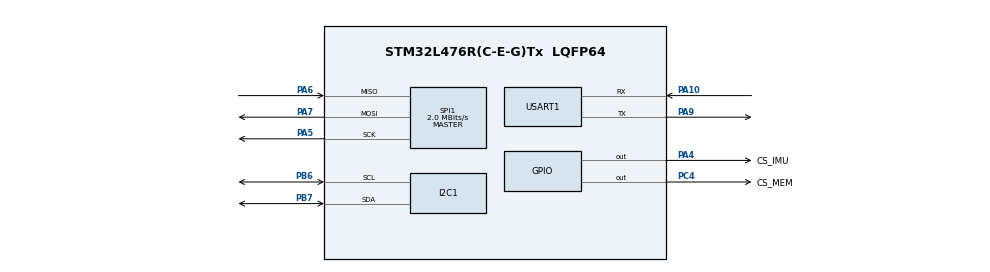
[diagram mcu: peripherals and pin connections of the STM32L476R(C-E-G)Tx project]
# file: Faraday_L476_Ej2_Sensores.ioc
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I2C1.Timing=0x00100D14
Mcu.Family=STM32L4
Mcu.Name=STM32L476R(C-E-G)Tx
Mcu.Package=LQFP64
NVIC.PriorityGroup=NVIC_PRIORITYGROUP_4
NVIC.USART1_IRQn=true\:0\:0\:false\:false\:true\:true\:true\:true
PA10.Mode=Asynchronous
PA10.Signal=USART1_RX
PA13\ (JTMS-SWDIO).Mode=Serial_Wire
PA13\ (JTMS-SWDIO).Signal=SYS_JTMS-SWDIO
PA14\ (JTCK-SWCLK).Mode=Serial_Wire
PA14\ (JTCK-SWCLK).Signal=SYS_JTCK-SWCLK
PA4.GPIO_Label=CS_IMU
PA4.PinState=GPIO_PIN_SET
PA4.Signal=GPIO_Output
PA5.Mode=Full_Duplex_Master
PA5.Signal=SPI1_SCK
PA6.Mode=Full_Duplex_Master
PA6.Signal=SPI1_MISO
PA7.Mode=Full_Duplex_Master
PA7.Signal=SPI1_MOSI
PA9.Mode=Asynchronous
PA9.Signal=USART1_TX
PB6.Mode=I2C
PB6.Signal=I2C1_SCL
PB7.Mode=I2C
PB7.Signal=I2C1_SDA
PC4.GPIO_Label=CS_MEM
PC4.PinState=GPIO_PIN_SET
PC4.Signal=GPIO_Output
ProjectManager.HeapSize=0x200
ProjectManager.StackSize=0x400
ProjectManager.TargetToolchain=CMake
RCC.HSE_VALUE=8000000
RCC.HSI_VALUE=16000000
RCC.LSE_VALUE=32768
RCC.MSI_VALUE=4000000
RCC.VCOOutputFreq_Value=32000000
SPI1.CalculateBaudRate=2.0 MBits/s
SPI1.DataSize=SPI_DATASIZE_8BIT
SPI1.Direction=SPI_DIRECTION_2LINES
SPI1.Mode=SPI_MODE_MASTER
SPI1.VirtualType=VM_MASTER
USART1.VirtualMode-Asynchronous=VM_ASYNC
board=custom

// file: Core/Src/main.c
/* USER CODE BEGIN Header */
/**
  ******************************************************************************
  * @file           : main.c
  * @brief          : Main program body
  ******************************************************************************
  * @attention
  *
  * Copyright (c) 2026 STMicroelectronics.
  * All rights reserved.
  *
  * This software is licensed under terms that can be found in the LICENSE file
  * in the root directory of this software component.
  * If no LICENSE file comes with this software, it is provided AS-IS.
  *
  ******************************************************************************
  */
/* USER CODE END Header */
#include "main.h"

/* USER CODE BEGIN Includes */
#include <math.h>
/* USER CODE END Includes */

I2C_HandleTypeDef hi2c1;

SPI_HandleTypeDef hspi1;

UART_HandleTypeDef huart1;

/* USER CODE BEGIN PV */
static volatile uint8_t baro_5c_detectado = 0U;
static volatile uint8_t baro_5d_detectado = 0U;
// Indican si hemos podido escribir la configuración de cada barómetro.
static volatile uint8_t baro_5c_configurado = 0U;
static volatile uint8_t baro_5d_configurado = 0U;
// Última presión leída del sensor 0x5C, en hPa.
static volatile float baro_5c_presion_hpa = 0.0f;
// Última presión leída del segundo sensor, en hPa.
static volatile float baro_5d_presion_hpa = 0.0f;
// Vale 1 solo cuando este ciclo ha producido una lectura nueva y correcta.
static volatile uint8_t baro_5d_presion_valida = 0U;
// Vale 1 solo en el ciclo en que obtenemos una lectura nueva y correcta.
static volatile uint8_t baro_5c_presion_valida = 0U;
// Última presión obtenida con las muestras nuevas disponibles, en hPa.
static volatile float presion_combinada_hpa = 0.0f;
// 0: sin muestra nueva; 1: solo 0x5C; 2: solo 0x5D; 3: ambos.
static volatile uint8_t barometros_usados = 0U;
static volatile uint8_t imu_detectada = 0U;
static volatile uint8_t imu_id_leido = 0U;
static volatile uint8_t imu_interfaz_configurada = 0U;
static volatile uint8_t imu_lowg_configurado = 0U;
static volatile float imu_ax_g = 0.0f;
static volatile float imu_ay_g = 0.0f;
static volatile float imu_az_g = 0.0f;
static volatile uint8_t imu_lowg_muestra_valida = 0U;
static volatile uint8_t imu_highg_configurado = 0U;
static volatile uint8_t imu_giro_configurado = 0U;
static volatile float imu_gx_dps = 0.0f;
static volatile float imu_gy_dps = 0.0f;
static volatile float imu_gz_dps = 0.0f;
static volatile uint8_t imu_giro_muestra_valida = 0U;
static uint8_t gnss_byte_rx = 0U;
static volatile uint8_t gnss_buffer[256] = {0U};
static volatile uint16_t gnss_indice = 0U;
static volatile uint32_t gnss_bytes_recibidos = 0U;
static volatile uint8_t gnss_rx_activa = 0U;
/* USER CODE END PV */

void SystemClock_Config(void);
static void MX_GPIO_Init(void);
static void MX_I2C1_Init(void);
static void MX_SPI1_Init(void);
static void MX_USART1_UART_Init(void);
/* USER CODE BEGIN PFP */
static float FiltrarAltura(float altura_nueva, float altura_anterior);
static float AlturaDesdePresion(float presion_pa, float presion_inicial_pa);
/* USER CODE END PFP */

int main(void)
{

  /* MCU Configuration--------------------------------------------------------*/

  /* Reset of all peripherals, Initializes the Flash interface and the Systick. */
  HAL_Init();

  /* Configure the system clock */
  SystemClock_Config();

  /* Initialize all configured peripherals */
  MX_GPIO_Init();
  MX_I2C1_Init();
  MX_SPI1_Init();
  MX_USART1_UART_Init();
  /* USER CODE BEGIN 2 */
  // Aquí se guardará el identificador leído de cada sensor.
  // WHO_AM_I: 0x0F. El bit 7 indica lectura SPI.
  gnss_rx_activa =
    (HAL_UART_Receive_IT(&huart1, &gnss_byte_rx, 1U) == HAL_OK);
  uint8_t imu_tx[2] = {0x8FU, 0x00U};
  uint8_t imu_rx[2] = {0U, 0U};

  HAL_GPIO_WritePin(CS_IMU_GPIO_Port, CS_IMU_Pin, GPIO_PIN_RESET);

  HAL_StatusTypeDef resultado_imu = HAL_SPI_TransmitReceive(
    &hspi1, imu_tx, imu_rx, 2U, 100U
  );

  HAL_GPIO_WritePin(CS_IMU_GPIO_Port, CS_IMU_Pin, GPIO_PIN_SET);
  // El segundo contiene el valor del registro.
  if (resultado_imu == HAL_OK)
  {
    imu_id_leido = imu_rx[1];
    imu_detectada = (imu_id_leido == 0x73U);
  }
  if (imu_detectada)
{
    // CTRL3 (0x12): BDU = 1 e IF_INC = 1.
    uint8_t imu_config_tx[2] = {0x12U, 0x44U};

    HAL_GPIO_WritePin(CS_IMU_GPIO_Port, CS_IMU_Pin, GPIO_PIN_RESET);
    HAL_StatusTypeDef escritura_imu = HAL_SPI_Transmit(
        &hspi1, imu_config_tx, 2U, 100U
    );
    HAL_GPIO_WritePin(CS_IMU_GPIO_Port, CS_IMU_Pin, GPIO_PIN_SET);

    if (escritura_imu == HAL_OK)
    {
        // Leemos CTRL3 de vuelta: 0x12 | 0x80 = 0x92.
        uint8_t imu_verif_tx[2] = {0x92U, 0x00U};
        uint8_t imu_verif_rx[2] = {0U, 0U};

        HAL_GPIO_WritePin(CS_IMU_GPIO_Port, CS_IMU_Pin, GPIO_PIN_RESET);
        HAL_StatusTypeDef lectura_imu = HAL_SPI_TransmitReceive(
            &hspi1, imu_verif_tx, imu_verif_rx, 2U, 100U
        );
        HAL_GPIO_WritePin(CS_IMU_GPIO_Port, CS_IMU_Pin, GPIO_PIN_SET);

        imu_interfaz_configurada =
            (lectura_imu == HAL_OK &&
             (imu_verif_rx[1] & 0x44U) == 0x44U);
    }
}
if (imu_interfaz_configurada)
{
    // CTRL8: rango del acelerómetro low-g de +/-16 g.
    uint8_t config_rango[2] = {0x17U, 0x03U};

    HAL_GPIO_WritePin(CS_IMU_GPIO_Port, CS_IMU_Pin, GPIO_PIN_RESET);
    HAL_StatusTypeDef escritura_rango = HAL_SPI_Transmit(
        &hspi1, config_rango, 2U, 100U
    );
    HAL_GPIO_WritePin(CS_IMU_GPIO_Port, CS_IMU_Pin, GPIO_PIN_SET);

    if (escritura_rango == HAL_OK)
    {
        // CTRL1: modo de alto rendimiento y ODR de 60 Hz.
        uint8_t config_odr[2] = {0x10U, 0x05U};

        HAL_GPIO_WritePin(CS_IMU_GPIO_Port, CS_IMU_Pin, GPIO_PIN_RESET);
        HAL_StatusTypeDef escritura_odr = HAL_SPI_Transmit(
            &hspi1, config_odr, 2U, 100U
        );
        HAL_GPIO_WritePin(CS_IMU_GPIO_Port, CS_IMU_Pin, GPIO_PIN_SET);

        imu_lowg_configurado = (escritura_odr == HAL_OK);
    }
}
if (imu_lowg_configurado)
{
    // Lectura de CTRL8 (0x17): 0x17 | 0x80 = 0x97.
    uint8_t tx_rango[2] = {0x97U, 0x00U};
    uint8_t rx_rango[2] = {0U, 0U};

    HAL_GPIO_WritePin(CS_IMU_GPIO_Port, CS_IMU_Pin, GPIO_PIN_RESET);
    HAL_StatusTypeDef lectura_rango = HAL_SPI_TransmitReceive(
        &hspi1, tx_rango, rx_rango, 2U, 100U
    );
    HAL_GPIO_WritePin(CS_IMU_GPIO_Port, CS_IMU_Pin, GPIO_PIN_SET);

    // Lectura de CTRL1 (0x10): 0x10 | 0x80 = 0x90.
    uint8_t tx_odr[2] = {0x90U, 0x00U};
    uint8_t rx_odr[2] = {0U, 0U};

    HAL_GPIO_WritePin(CS_IMU_GPIO_Port, CS_IMU_Pin, GPIO_PIN_RESET);
    HAL_StatusTypeDef lectura_odr = HAL_SPI_TransmitReceive(
        &hspi1, tx_odr, rx_odr, 2U, 100U
    );
    HAL_GPIO_WritePin(CS_IMU_GPIO_Port, CS_IMU_Pin, GPIO_PIN_SET);

    imu_lowg_configurado =
        (lectura_rango == HAL_OK && rx_rango[1] == 0x03U &&
         lectura_odr == HAL_OK && rx_odr[1] == 0x05U);
}
if (imu_lowg_configurado)
{
    /* CTRL1_XL_HG (0x4E):
       bit 7 = 1: habilita los registros de salida high-g
       bits 5:3 = 011: 480 Hz
       bits 2:0 = 100: rango ±320 g
       Resultado: 0x9C. */
    uint8_t highg_config_tx[2] = {0x4EU, 0x9CU};

    HAL_GPIO_WritePin(CS_IMU_GPIO_Port, CS_IMU_Pin, GPIO_PIN_RESET);
    HAL_StatusTypeDef escritura_highg = HAL_SPI_Transmit(
        &hspi1, highg_config_tx, 2U, 100U
    );
    HAL_GPIO_WritePin(CS_IMU_GPIO_Port, CS_IMU_Pin, GPIO_PIN_SET);

    if (escritura_highg == HAL_OK)
    {
        /* Lectura de comprobación: 0x4E | 0x80 = 0xCE. */
        uint8_t highg_verif_tx[2] = {0xCEU, 0x00U};
        uint8_t highg_verif_rx[2] = {0U, 0U};

        HAL_GPIO_WritePin(CS_IMU_GPIO_Port, CS_IMU_Pin, GPIO_PIN_RESET);
        HAL_StatusTypeDef lectura_highg = HAL_SPI_TransmitReceive(
            &hspi1, highg_verif_tx, highg_verif_rx, 2U, 100U
        );
        HAL_GPIO_WritePin(CS_IMU_GPIO_Port, CS_IMU_Pin, GPIO_PIN_SET);

        imu_highg_configurado =
            (lectura_highg == HAL_OK &&
             highg_verif_rx[1] == 0x9CU);
    }
}
if (imu_lowg_configurado)
{
    /* CTRL6 (0x15): rango del giróscopo ±2000 °/s. */
    uint8_t giro_rango_tx[2] = {0x15U, 0x04U};

    HAL_GPIO_WritePin(CS_IMU_GPIO_Port, CS_IMU_Pin, GPIO_PIN_RESET);
    HAL_StatusTypeDef escritura_rango_giro = HAL_SPI_Transmit(
        &hspi1, giro_rango_tx, 2U, 100U
    );
    HAL_GPIO_WritePin(CS_IMU_GPIO_Port, CS_IMU_Pin, GPIO_PIN_SET);

    if (escritura_rango_giro == HAL_OK)
    {
        /* CTRL2 (0x11): alto rendimiento y 60 Hz. */
        uint8_t giro_odr_tx[2] = {0x11U, 0x05U};

        HAL_GPIO_WritePin(CS_IMU_GPIO_Port, CS_IMU_Pin, GPIO_PIN_RESET);
        HAL_StatusTypeDef escritura_odr_giro = HAL_SPI_Transmit(
            &hspi1, giro_odr_tx, 2U, 100U
        );
        HAL_GPIO_WritePin(CS_IMU_GPIO_Port, CS_IMU_Pin, GPIO_PIN_SET);

        if (escritura_odr_giro == HAL_OK)
{
    /* CTRL6: comprobamos el rango ±2000 °/s. */
    uint8_t rango_verif_tx[2] = {0x95U, 0x00U};
    uint8_t rango_verif_rx[2] = {0U, 0U};

    HAL_GPIO_WritePin(CS_IMU_GPIO_Port, CS_IMU_Pin, GPIO_PIN_RESET);
    HAL_StatusTypeDef lectura_rango_giro = HAL_SPI_TransmitReceive(
        &hspi1, rango_verif_tx, rango_verif_rx, 2U, 100U
    );
    HAL_GPIO_WritePin(CS_IMU_GPIO_Port, CS_IMU_Pin, GPIO_PIN_SET);

    /* CTRL2: comprobamos la frecuencia de 60 Hz. */
    uint8_t odr_verif_tx[2] = {0x91U, 0x00U};
    uint8_t odr_verif_rx[2] = {0U, 0U};

    HAL_GPIO_WritePin(CS_IMU_GPIO_Port, CS_IMU_Pin, GPIO_PIN_RESET);
    HAL_StatusTypeDef lectura_odr_giro = HAL_SPI_TransmitReceive(
        &hspi1, odr_verif_tx, odr_verif_rx, 2U, 100U
    );
    HAL_GPIO_WritePin(CS_IMU_GPIO_Port, CS_IMU_Pin, GPIO_PIN_SET);

    imu_giro_configurado =
        (lectura_rango_giro == HAL_OK &&
         rango_verif_rx[1] == 0x04U &&
         lectura_odr_giro == HAL_OK &&
         odr_verif_rx[1] == 0x05U);
}
    }
}

  uint8_t id_5c = 0U;
  uint8_t id_5d = 0U;
// Leemos el registro WHO_AM_I (0x0F) del barómetro con dirección 0x5C.
// HAL espera la dirección de 7 bits desplazada una posición a la izquierda.
HAL_StatusTypeDef lectura_5c = HAL_I2C_Mem_Read(
    &hi2c1,                 // Bus I²C configurado en CubeMX.
    0x5CU << 1,             // Dirección del primer barómetro.
    0x0FU,                  // Registro WHO_AM_I.
    I2C_MEMADD_SIZE_8BIT,   // La dirección del registro ocupa 8 bits.
    &id_5c,                // Variable donde se guardará el dato recibido.
    1U,                    // Leemos un byte.
    100U                   // Tiempo máximo de espera, en milisegundos.
);
// Repetimos la lectura para el barómetro con dirección 0x5D.
HAL_StatusTypeDef lectura_5d = HAL_I2C_Mem_Read(
    &hi2c1,
    0x5DU << 1,
    0x0FU,
    I2C_MEMADD_SIZE_8BIT,
    &id_5d,
    1U,
    100U
);
// 0xB4 es el valor esperado de WHO_AM_I para el LPS22DF.
// Exigimos tanto una comunicación correcta como el identificador esperado.
baro_5c_detectado = (lectura_5c == HAL_OK && id_5c == 0xB4U);
baro_5d_detectado = (lectura_5d == HAL_OK && id_5d == 0xB4U);
// CTRL_REG1: ODR = 100 Hz (0111) y AVG = 32 (011).
uint8_t configuracion = 0x3BU;
// Solo intentamos configurar el sensor que se haya identificado.
if (baro_5c_detectado)
{
    baro_5c_configurado = (HAL_I2C_Mem_Write(
        &hi2c1,                 // Bus I²C.
        0x5CU << 1,             // Dirección del primer barómetro.
        0x10U,                  // Registro CTRL_REG1.
        I2C_MEMADD_SIZE_8BIT,   // Dirección de registro de 8 bits.
        &configuracion,         // Valor que queremos escribir.
        1U,                    // Escribimos un byte.
        100U                   // Tiempo máximo de espera, en ms.
    ) == HAL_OK);
}
if (baro_5d_detectado)
{
    baro_5d_configurado = (HAL_I2C_Mem_Write(
        &hi2c1,
        0x5DU << 1,             // Dirección del segundo barómetro.
        0x10U,
        I2C_MEMADD_SIZE_8BIT,
        &configuracion,         // Ambos reciben la misma configuración.
        1U,
        100U
    ) == HAL_OK);
}// Variables donde guardaremos el contenido leído de CTRL_REG1.
uint8_t ctrl_5c = 0U;
uint8_t ctrl_5d = 0U;
if (baro_5c_configurado)
{
    // Leemos de nuevo CTRL_REG1 en el primer barómetro.
    HAL_StatusTypeDef resultado_5c = HAL_I2C_Mem_Read(
        &hi2c1,
        0x5CU << 1,
        0x10U,                  // Registro que acabamos de escribir.
        I2C_MEMADD_SIZE_8BIT,
        &ctrl_5c,               // Aquí quedará el valor leído.
        1U,
        100U
    );
    // Solo lo damos por configurado si la lectura funciona
    // y el registro contiene el valor previsto.
    baro_5c_configurado =
        (resultado_5c == HAL_OK && ctrl_5c == configuracion);
}
if (baro_5d_configurado)
{
    // Hacemos la misma comprobación en el segundo barómetro.
    HAL_StatusTypeDef resultado_5d = HAL_I2C_Mem_Read(
        &hi2c1,
        0x5DU << 1,
        0x10U,
        I2C_MEMADD_SIZE_8BIT,
        &ctrl_5d,
        1U,
        100U
    );
    baro_5d_configurado =
        (resultado_5d == HAL_OK && ctrl_5d == configuracion);
}
// En CTRL_REG2, el bit 3 activa BDU: 0000 1000 = 0x08.
uint8_t configuracion_bdu = 0x08U;
if (baro_5c_configurado)
{
    // Activamos BDU en el primer barómetro.
    HAL_StatusTypeDef escritura = HAL_I2C_Mem_Write(
        &hi2c1, 0x5CU << 1, 0x11U, I2C_MEMADD_SIZE_8BIT,
        &configuracion_bdu, 1U, 100U
    );
    // Si falla esta escritura, el sensor ya no se considera
    // completamente configurado.
    baro_5c_configurado = (escritura == HAL_OK);
}
if (baro_5d_configurado)
{
    // Aplicamos la misma configuración al segundo barómetro.
    HAL_StatusTypeDef escritura = HAL_I2C_Mem_Write(
        &hi2c1, 0x5DU << 1, 0x11U, I2C_MEMADD_SIZE_8BIT,
        &configuracion_bdu, 1U, 100U
    );
    baro_5d_configurado = (escritura == HAL_OK);
}
  /* USER CODE END 2 */

  /* Infinite loop */
  while (1)
  {

    /* USER CODE BEGIN 3 */
    static uint32_t instante_anterior = 0U;
    static uint8_t primera_medida = 1U;
    static uint8_t referencia_pendiente = 1U;
    static float presion_inicio_pa = 0.0f;
    static float altura_filtrada = 0.0f;
    static volatile float resultado_prueba = 0.0f;
    static float historial_alturas[20] = {0};
    static uint8_t indice_historial = 0U;
    static uint8_t muestras_guardadas = 0U;
    static volatile float cambio_altura_02s = 0.0f;
    static float altura_maxima = 0.0f;
    static uint8_t confirmaciones_descenso = 0U;
    static uint8_t fallos_consecutivos = 0U;
    static volatile uint8_t descenso_detectado = 0U;
    uint32_t instante_actual = HAL_GetTick();
    if ((uint32_t)(instante_actual - instante_anterior) >= 10U)
    {
      instante_anterior = instante_actual;
      /* Se reinicia en cada ciclo: los valores numéricos conservan
   la última lectura, aunque no haya una muestra nueva. */
imu_lowg_muestra_valida = 0U;

if (imu_lowg_configurado)
{
    /* STATUS_REG (0x1E), bit 0: XLDA indica datos nuevos
       del acelerómetro low-g. */
    uint8_t estado_tx[2] = {0x9EU, 0x00U};
    uint8_t estado_rx[2] = {0U, 0U};

    HAL_GPIO_WritePin(CS_IMU_GPIO_Port, CS_IMU_Pin, GPIO_PIN_RESET);
    HAL_StatusTypeDef lectura_estado = HAL_SPI_TransmitReceive(
        &hspi1, estado_tx, estado_rx, 2U, 100U
    );
    HAL_GPIO_WritePin(CS_IMU_GPIO_Port, CS_IMU_Pin, GPIO_PIN_SET);

    if (lectura_estado == HAL_OK && (estado_rx[1] & 0x01U) != 0U)
    {
        /* Lectura continua de 0x28 a 0x2D:
           X bajo/alto, Y bajo/alto, Z bajo/alto. */
        uint8_t datos_tx[7] = {0xA8U, 0U, 0U, 0U, 0U, 0U, 0U};
        uint8_t datos_rx[7] = {0U, 0U, 0U, 0U, 0U, 0U, 0U};

        HAL_GPIO_WritePin(CS_IMU_GPIO_Port, CS_IMU_Pin, GPIO_PIN_RESET);
        HAL_StatusTypeDef lectura_datos = HAL_SPI_TransmitReceive(
            &hspi1, datos_tx, datos_rx, 7U, 100U
        );
        HAL_GPIO_WritePin(CS_IMU_GPIO_Port, CS_IMU_Pin, GPIO_PIN_SET);

        if (lectura_datos == HAL_OK)
        {
            int16_t ax_bruta = (int16_t)(
                (uint16_t)datos_rx[1] |
                ((uint16_t)datos_rx[2] << 8)
            );
            int16_t ay_bruta = (int16_t)(
                (uint16_t)datos_rx[3] |
                ((uint16_t)datos_rx[4] << 8)
            );
            int16_t az_bruta = (int16_t)(
                (uint16_t)datos_rx[5] |
                ((uint16_t)datos_rx[6] << 8)
            );

            /* Para el rango configurado de ±16 g:
               0,488 mg por unidad = 0,000488 g por unidad. */
            imu_ax_g = (float)ax_bruta * 0.000488f;
            imu_ay_g = (float)ay_bruta * 0.000488f;
            imu_az_g = (float)az_bruta * 0.000488f;
            imu_lowg_muestra_valida = 1U;
        }
    }
}
imu_giro_muestra_valida = 0U;

if (imu_giro_configurado)
{
    /* STATUS_REG (0x1E), bit 1: datos nuevos del giróscopo. */
    uint8_t giro_estado_tx[2] = {0x9EU, 0x00U};
    uint8_t giro_estado_rx[2] = {0U, 0U};

    HAL_GPIO_WritePin(CS_IMU_GPIO_Port, CS_IMU_Pin, GPIO_PIN_RESET);
    HAL_StatusTypeDef lectura_estado_giro = HAL_SPI_TransmitReceive(
        &hspi1, giro_estado_tx, giro_estado_rx, 2U, 100U
    );
    HAL_GPIO_WritePin(CS_IMU_GPIO_Port, CS_IMU_Pin, GPIO_PIN_SET);

    if (lectura_estado_giro == HAL_OK &&
        (giro_estado_rx[1] & 0x02U) != 0U)
    {
        /* Registros 0x22 a 0x27: X, Y y Z, byte bajo y alto. */
        uint8_t giro_datos_tx[7] = {0xA2U, 0U, 0U, 0U, 0U, 0U, 0U};
        uint8_t giro_datos_rx[7] = {0U, 0U, 0U, 0U, 0U, 0U, 0U};

        HAL_GPIO_WritePin(CS_IMU_GPIO_Port, CS_IMU_Pin, GPIO_PIN_RESET);
        HAL_StatusTypeDef lectura_datos_giro = HAL_SPI_TransmitReceive(
            &hspi1, giro_datos_tx, giro_datos_rx, 7U, 100U
        );
        HAL_GPIO_WritePin(CS_IMU_GPIO_Port, CS_IMU_Pin, GPIO_PIN_SET);

        if (lectura_datos_giro == HAL_OK)
        {
            int16_t gx_bruta = (int16_t)(
                (uint16_t)giro_datos_rx[1] |
                ((uint16_t)giro_datos_rx[2] << 8)
            );
            int16_t gy_bruta = (int16_t)(
                (uint16_t)giro_datos_rx[3] |
                ((uint16_t)giro_datos_rx[4] << 8)
            );
            int16_t gz_bruta = (int16_t)(
                (uint16_t)giro_datos_rx[5] |
                ((uint16_t)giro_datos_rx[6] << 8)
            );

            /* ±2000 °/s: 70 mdps/LSB = 0,070 °/s por unidad. */
            imu_gx_dps = (float)gx_bruta * 0.070f;
            imu_gy_dps = (float)gy_bruta * 0.070f;
            imu_gz_dps = (float)gz_bruta * 0.070f;
            imu_giro_muestra_valida = 1U;
        }
    }
}
      uint8_t nueva_presion_5c = 0U;
      if (baro_5c_configurado)
      {
        uint8_t estado_5c = 0U;
        HAL_StatusTypeDef resultado = HAL_I2C_Mem_Read(
            &hi2c1,
            0x5CU << 1,
            0x27U,                  // Registro STATUS.
            I2C_MEMADD_SIZE_8BIT,
            &estado_5c,
            1U,
            100U
        );
        // P_DA es el bit 0: indica presión nueva disponible.
        nueva_presion_5c =
            (resultado == HAL_OK && (estado_5c & 0x01U) != 0U);
      }
            // Reiniciamos la validez en cada ciclo.
      // Una presión guardada de antes no se convierte en muestra nueva.
      baro_5c_presion_valida = 0U;
      if (nueva_presion_5c)
      {
        uint8_t bytes_presion[3] = {0U, 0U, 0U};
        // Leemos consecutivamente 0x28, 0x29 y 0x2A.
        // El incremento automático de dirección viene activado por defecto.
        HAL_StatusTypeDef lectura_presion = HAL_I2C_Mem_Read(
            &hi2c1,
            0x5CU << 1,
            0x28U,                  // Primer registro: PRESS_OUT_XL.
            I2C_MEMADD_SIZE_8BIT,
            bytes_presion,          // Recibirá los tres bytes.
            3U,
            100U
        );
        if (lectura_presion == HAL_OK)
        {
          // Reconstruimos el número de 24 bits:
          // byte bajo + byte central + byte alto.
          uint32_t bruto_24 =
              (uint32_t)bytes_presion[0]
              | ((uint32_t)bytes_presion[1] << 8)
              | ((uint32_t)bytes_presion[2] << 16);
          // La ficha define el dato como un entero con signo de 24 bits.
          // Si su bit de signo está activo, extendemos ese signo a int32_t.
          int32_t bruto_con_signo = (int32_t)bruto_24;
          if ((bruto_24 & 0x800000U) != 0U)
          {
            bruto_con_signo -= 0x1000000;
          }
          // Sensibilidad del LPS22DF: 4096 unidades por hPa.
          baro_5c_presion_hpa = (float)bruto_con_signo / 4096.0f;
          baro_5c_presion_valida = 1U;
        }
      }
          // Igual que con 0x5C, primero preguntamos si hay una muestra nueva.
      uint8_t nueva_presion_5d = 0U;
      baro_5d_presion_valida = 0U;
      if (baro_5d_configurado)
      {
        uint8_t estado_5d = 0U;
        HAL_StatusTypeDef resultado = HAL_I2C_Mem_Read(
            &hi2c1,
            0x5DU << 1,             // Dirección del segundo barómetro.
            0x27U,                  // Registro STATUS.
            I2C_MEMADD_SIZE_8BIT,
            &estado_5d,
            1U,
            100U
        );
        // P_DA, bit 0: hay una presión nueva disponible.
        nueva_presion_5d =
            (resultado == HAL_OK && (estado_5d & 0x01U) != 0U);
      }
      if (nueva_presion_5d)
      {
        uint8_t bytes_presion[3] = {0U, 0U, 0U};
        // Leemos los tres bytes en orden: XL, L y H.
        HAL_StatusTypeDef lectura_presion = HAL_I2C_Mem_Read(
            &hi2c1,
            0x5DU << 1,
            0x28U,                  // Primer registro de presión.
            I2C_MEMADD_SIZE_8BIT,
            bytes_presion,
            3U,
            100U
        );
        if (lectura_presion == HAL_OK)
        {
          // Unimos los tres bytes en un entero de 24 bits.
          uint32_t bruto_24 =
              (uint32_t)bytes_presion[0]
              | ((uint32_t)bytes_presion[1] << 8)
              | ((uint32_t)bytes_presion[2] << 16);
          // Extendemos el signo si el bit 23 está activo.
          int32_t bruto_con_signo = (int32_t)bruto_24;
          if ((bruto_24 & 0x800000U) != 0U)
          {
            bruto_con_signo -= 0x1000000;
          }
          // Convertimos el dato del sensor a hPa.
          baro_5d_presion_hpa = (float)bruto_con_signo / 4096.0f;
          baro_5d_presion_valida = 1U;
        }
      }
      // Se decide de nuevo en cada ciclo qué muestras se han recibido.
      barometros_usados = 0U;
      if (baro_5c_presion_valida && baro_5d_presion_valida)
      {
        // Si ambos entregaron una muestra nueva, calculamos su media.
        presion_combinada_hpa =
            0.5f * (baro_5c_presion_hpa + baro_5d_presion_hpa);
        barometros_usados = 3U;
      }
      else if (baro_5c_presion_valida)
      {
        // Solo hay una muestra nueva del sensor 0x5C.
        presion_combinada_hpa = baro_5c_presion_hpa;
        barometros_usados = 1U;
      }
      else if (baro_5d_presion_valida)
      {
        // Solo hay una muestra nueva del sensor 0x5D.
        presion_combinada_hpa = baro_5d_presion_hpa;
        barometros_usados = 2U;
      }
      // Una muestra nueva permite actualizar la altura. En el primer ciclo
      // válido, la presión medida fija el cero de altura relativo al arranque.
      if (barometros_usados != 0U && presion_combinada_hpa > 0.0f)
      {
        float presion_actual_pa = presion_combinada_hpa * 100.0f;
        if (referencia_pendiente)
        {
          presion_inicio_pa = presion_actual_pa;
          referencia_pendiente = 0U;
        }
        float altura_nueva =
            AlturaDesdePresion(presion_actual_pa, presion_inicio_pa);
        if (primera_medida)
        {
          altura_filtrada = altura_nueva;
          primera_medida = 0U;
        }
        else
        {
          altura_filtrada = FiltrarAltura(altura_nueva, altura_filtrada);
        }
        if (altura_filtrada > altura_maxima)
        {
          altura_maxima = altura_filtrada;
        }
        if (muestras_guardadas == 20U)
        {
          cambio_altura_02s =
              altura_filtrada - historial_alturas[indice_historial];
          if (descenso_detectado == 0U)
          {
            const float caida_minima_desde_maximo_m = 2.0f;
            const float descenso_minimo_02s_m = 1.0f;
            if ((altura_maxima - altura_filtrada >= caida_minima_desde_maximo_m) &&
                (cambio_altura_02s <= -descenso_minimo_02s_m))
            {
              fallos_consecutivos = 0U;
              confirmaciones_descenso++;
              if (confirmaciones_descenso >= 50U)
              {
                descenso_detectado = 1U;
              }
            }
            else
            {
              fallos_consecutivos++;
              if (fallos_consecutivos >= 3U)
              {
                confirmaciones_descenso = 0U;
                fallos_consecutivos = 0U;
              }
            }
          }
        }
        else
        {
          muestras_guardadas++;
        }
        historial_alturas[indice_historial] = altura_filtrada;
        indice_historial = (uint8_t)((indice_historial + 1U) % 20U);
        resultado_prueba = altura_filtrada;
      }
    }
  }
  /* USER CODE END 3 */
}

void SystemClock_Config(void)
{
  RCC_OscInitTypeDef RCC_OscInitStruct = {0};
  RCC_ClkInitTypeDef RCC_ClkInitStruct = {0};

  /** Configure the main internal regulator output voltage
  */
  if (HAL_PWREx_ControlVoltageScaling(PWR_REGULATOR_VOLTAGE_SCALE1) != HAL_OK)
  {
    Error_Handler();
  }

  /** Initializes the RCC Oscillators according to the specified parameters
  * in the RCC_OscInitTypeDef structure.
  */
  RCC_OscInitStruct.OscillatorType = RCC_OSCILLATORTYPE_MSI;
  RCC_OscInitStruct.MSIState = RCC_MSI_ON;
  RCC_OscInitStruct.MSICalibrationValue = 0;
  RCC_OscInitStruct.MSIClockRange = RCC_MSIRANGE_6;
  RCC_OscInitStruct.PLL.PLLState = RCC_PLL_NONE;
  if (HAL_RCC_OscConfig(&RCC_OscInitStruct) != HAL_OK)
  {
    Error_Handler();
  }

  /** Initializes the CPU, AHB and APB buses clocks
  */
  RCC_ClkInitStruct.ClockType = RCC_CLOCKTYPE_HCLK|RCC_CLOCKTYPE_SYSCLK
                              |RCC_CLOCKTYPE_PCLK1|RCC_CLOCKTYPE_PCLK2;
  RCC_ClkInitStruct.SYSCLKSource = RCC_SYSCLKSOURCE_MSI;
  RCC_ClkInitStruct.AHBCLKDivider = RCC_SYSCLK_DIV1;
  RCC_ClkInitStruct.APB1CLKDivider = RCC_HCLK_DIV1;
  RCC_ClkInitStruct.APB2CLKDivider = RCC_HCLK_DIV1;

  if (HAL_RCC_ClockConfig(&RCC_ClkInitStruct, FLASH_LATENCY_0) != HAL_OK)
  {
    Error_Handler();
  }
}

static void MX_I2C1_Init(void)
{

  hi2c1.Instance = I2C1;
  hi2c1.Init.Timing = 0x00100D14;
  hi2c1.Init.OwnAddress1 = 0;
  hi2c1.Init.AddressingMode = I2C_ADDRESSINGMODE_7BIT;
  hi2c1.Init.DualAddressMode = I2C_DUALADDRESS_DISABLE;
  hi2c1.Init.OwnAddress2 = 0;
  hi2c1.Init.OwnAddress2Masks = I2C_OA2_NOMASK;
  hi2c1.Init.GeneralCallMode = I2C_GENERALCALL_DISABLE;
  hi2c1.Init.NoStretchMode = I2C_NOSTRETCH_DISABLE;
  if (HAL_I2C_Init(&hi2c1) != HAL_OK)
  {
    Error_Handler();
  }

  /** Configure Analogue filter
  */
  if (HAL_I2CEx_ConfigAnalogFilter(&hi2c1, I2C_ANALOGFILTER_ENABLE) != HAL_OK)
  {
    Error_Handler();
  }

  /** Configure Digital filter
  */
  if (HAL_I2CEx_ConfigDigitalFilter(&hi2c1, 0) != HAL_OK)
  {
    Error_Handler();
  }

}

static void MX_SPI1_Init(void)
{

  /* SPI1 parameter configuration*/
  hspi1.Instance = SPI1;
  hspi1.Init.Mode = SPI_MODE_MASTER;
  hspi1.Init.Direction = SPI_DIRECTION_2LINES;
  hspi1.Init.DataSize = SPI_DATASIZE_8BIT;
  hspi1.Init.CLKPolarity = SPI_POLARITY_LOW;
  hspi1.Init.CLKPhase = SPI_PHASE_1EDGE;
  hspi1.Init.NSS = SPI_NSS_SOFT;
  hspi1.Init.BaudRatePrescaler = SPI_BAUDRATEPRESCALER_2;
  hspi1.Init.FirstBit = SPI_FIRSTBIT_MSB;
  hspi1.Init.TIMode = SPI_TIMODE_DISABLE;
  hspi1.Init.CRCCalculation = SPI_CRCCALCULATION_DISABLE;
  hspi1.Init.CRCPolynomial = 7;
  hspi1.Init.CRCLength = SPI_CRC_LENGTH_DATASIZE;
  hspi1.Init.NSSPMode = SPI_NSS_PULSE_ENABLE;
  if (HAL_SPI_Init(&hspi1) != HAL_OK)
  {
    Error_Handler();
  }

}

static void MX_USART1_UART_Init(void)
{

  huart1.Instance = USART1;
  huart1.Init.BaudRate = 115200;
  huart1.Init.WordLength = UART_WORDLENGTH_8B;
  huart1.Init.StopBits = UART_STOPBITS_1;
  huart1.Init.Parity = UART_PARITY_NONE;
  huart1.Init.Mode = UART_MODE_TX_RX;
  huart1.Init.HwFlowCtl = UART_HWCONTROL_NONE;
  huart1.Init.OverSampling = UART_OVERSAMPLING_16;
  huart1.Init.OneBitSampling = UART_ONE_BIT_SAMPLE_DISABLE;
  huart1.AdvancedInit.AdvFeatureInit = UART_ADVFEATURE_NO_INIT;
  if (HAL_UART_Init(&huart1) != HAL_OK)
  {
    Error_Handler();
  }

}

static void MX_GPIO_Init(void)
{
  GPIO_InitTypeDef GPIO_InitStruct = {0};

  /* GPIO Ports Clock Enable */
  __HAL_RCC_GPIOA_CLK_ENABLE();
  __HAL_RCC_GPIOC_CLK_ENABLE();
  __HAL_RCC_GPIOB_CLK_ENABLE();

  /*Configure GPIO pin Output Level */
  HAL_GPIO_WritePin(CS_IMU_GPIO_Port, CS_IMU_Pin, GPIO_PIN_SET);

  /*Configure GPIO pin Output Level */
  HAL_GPIO_WritePin(CS_MEM_GPIO_Port, CS_MEM_Pin, GPIO_PIN_SET);

  /*Configure GPIO pin : CS_IMU_Pin */
  GPIO_InitStruct.Pin = CS_IMU_Pin;
  GPIO_InitStruct.Mode = GPIO_MODE_OUTPUT_PP;
  GPIO_InitStruct.Pull = GPIO_NOPULL;
  GPIO_InitStruct.Speed = GPIO_SPEED_FREQ_LOW;
  HAL_GPIO_Init(CS_IMU_GPIO_Port, &GPIO_InitStruct);

  /*Configure GPIO pin : CS_MEM_Pin */
  GPIO_InitStruct.Pin = CS_MEM_Pin;
  GPIO_InitStruct.Mode = GPIO_MODE_OUTPUT_PP;
  GPIO_InitStruct.Pull = GPIO_NOPULL;
  GPIO_InitStruct.Speed = GPIO_SPEED_FREQ_LOW;
  HAL_GPIO_Init(CS_MEM_GPIO_Port, &GPIO_InitStruct);

}

/* USER CODE BEGIN 4 */
void HAL_UART_RxCpltCallback(UART_HandleTypeDef *huart)
{
    if (huart->Instance == USART1)
    {
        gnss_buffer[gnss_indice] = gnss_byte_rx;
        gnss_indice = (uint16_t)((gnss_indice + 1U) & 0xFFU);
        gnss_bytes_recibidos++;

        /* Preparar la recepción del siguiente byte. */
        gnss_rx_activa =
            (HAL_UART_Receive_IT(&huart1, &gnss_byte_rx, 1U) == HAL_OK);
    }
}
static float FiltrarAltura(float altura_nueva, float altura_anterior)
{
  const float alpha = 0.25f;  /* Valor de prueba, todavía no validado */
  return altura_anterior + alpha * (altura_nueva - altura_anterior);
}
static float AlturaDesdePresion(float presion_pa, float presion_inicial_pa)
{
  const float R = 287.05f;     /* J/(kg·K), aire seco */
  const float T = 288.15f;     /* K, valor supuesto para esta prueba */
  const float g = 9.80665f;    /* m/s² */
  return (R * T / g) * logf(presion_inicial_pa / presion_pa);
}
/* USER CODE END 4 */

void Error_Handler(void)
{
  __disable_irq();
  while (1)
  {
  }
}
